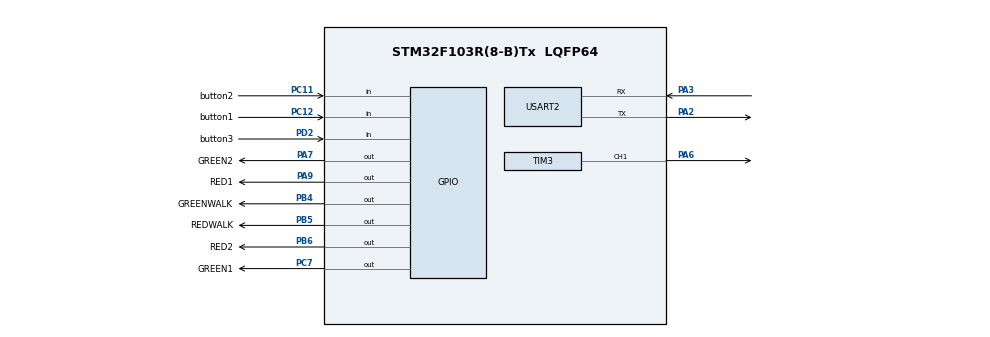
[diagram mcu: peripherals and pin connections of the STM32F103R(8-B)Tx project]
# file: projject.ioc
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Mcu.Family=STM32F1
Mcu.Name=STM32F103R(8-B)Tx
Mcu.Package=LQFP64
NVIC.PriorityGroup=NVIC_PRIORITYGROUP_4
NVIC.TIM2_IRQn=true\:0\:0\:false\:false\:true\:true\:true\:true
NVIC.USART2_IRQn=true\:0\:0\:false\:false\:true\:true\:true\:true
PA13.Mode=Serial_Wire
PA13.Signal=SYS_JTMS-SWDIO
PA14.Mode=Serial_Wire
PA14.Signal=SYS_JTCK-SWCLK
PA2.Mode=Asynchronous
PA2.Signal=USART2_TX
PA3.Mode=Asynchronous
PA3.Signal=USART2_RX
PA6.Signal=S_TIM3_CH1
PA7.GPIO_Label=GREEN2
PA7.GPIO_Speed=GPIO_SPEED_FREQ_HIGH
PA7.PinState=GPIO_PIN_SET
PA7.Signal=GPIO_Output
PA9.GPIO_Label=RED1
PA9.GPIO_Speed=GPIO_SPEED_FREQ_HIGH
PA9.PinState=GPIO_PIN_SET
PA9.Signal=GPIO_Output
PB4.GPIO_Label=GREENWALK
PB4.GPIO_Speed=GPIO_SPEED_FREQ_HIGH
PB4.PinState=GPIO_PIN_SET
PB4.Signal=GPIO_Output
PB5.GPIO_Label=REDWALK
PB5.GPIO_Speed=GPIO_SPEED_FREQ_HIGH
PB5.PinState=GPIO_PIN_SET
PB5.Signal=GPIO_Output
PB6.GPIO_Label=RED2
PB6.GPIO_Speed=GPIO_SPEED_FREQ_HIGH
PB6.PinState=GPIO_PIN_SET
PB6.Signal=GPIO_Output
PC11.GPIO_Label=button2
PC11.GPIO_PuPd=GPIO_PULLUP
PC11.Signal=GPIO_Input
PC12.GPIO_Label=button1
PC12.GPIO_PuPd=GPIO_PULLUP
PC12.Signal=GPIO_Input
PC7.GPIO_Label=GREEN1
PC7.GPIO_Speed=GPIO_SPEED_FREQ_HIGH
PC7.PinState=GPIO_PIN_SET
PC7.Signal=GPIO_Output
PD2.GPIO_Label=button3
PD2.GPIO_PuPd=GPIO_PULLUP
PD2.Signal=GPIO_Input
ProjectManager.HeapSize=0x200
ProjectManager.StackSize=0x400
ProjectManager.TargetToolchain=STM32CubeIDE
RCC.APB1Freq_Value=8000000
RCC.APB2Freq_Value=8000000
SH.S_TIM3_CH1.0=TIM3_CH1,PWM Generation1 CH1
TIM2.Period=9
TIM2.Prescaler=7999
TIM3.Channel-PWM\ Generation1\ CH1=TIM_CHANNEL_1
TIM3.Period=9999
TIM3.Prescaler=399
TIM3.Pulse-PWM\ Generation1\ CH1=5000
USART2.VirtualMode=VM_ASYNC
VP_TIM2_VS_ClockSourceINT.Mode=Internal
VP_TIM3_VS_ClockSourceINT.Mode=Internal
board=custom

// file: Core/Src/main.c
/* USER CODE BEGIN Header */
/**
 ******************************************************************************
 * @file           : main.c
 * @brief          : Main program body
 ******************************************************************************
 * @attention
 *
 * <h2><center>&copy; Copyright (c) 2023 STMicroelectronics.
 * All rights reserved.</center></h2>
 *
 * This software component is licensed by ST under BSD 3-Clause license,
 * the "License"; You may not use this file except in compliance with the
 * License. You may obtain a copy of the License at:
 *                        opensource.org/licenses/BSD-3-Clause
 *
 ******************************************************************************
 */
/* USER CODE END Header */
#include "main.h"

/* USER CODE BEGIN Includes */
#include <string.h>
#include "button.h"
#include "normalMode.h"
#include "deviceDriverSingleLed.h"
#include "deviceDriver7Segment.h"
#include "manualMode.h"
#include "tuningMode.h"
#include "ledWalk.h"
#include "uart.h"
#include "scho1.h"
#include "pwm.h"
/* USER CODE END Includes */

TIM_HandleTypeDef htim2;
//TIM_HandleTypeDef htim3;
//
//UART_HandleTypeDef huart2;

void SystemClock_Config(void);
static void MX_GPIO_Init(void);
static void MX_TIM2_Init(void);
//static void MX_TIM3_Init(void);
//static void MX_USART2_UART_Init(void);

int main(void)
{

  /* MCU Configuration--------------------------------------------------------*/

  /* Reset of all peripherals, Initializes the Flash interface and the Systick. */
  HAL_Init();

  /* Configure the system clock */
  SystemClock_Config();

  /* Initialize all configured peripherals */
  MX_GPIO_Init();
  MX_TIM2_Init();
  MX_TIM3_Init();
  MX_USART2_UART_Init();
  /* USER CODE BEGIN 2 */
  HAL_TIM_Base_Start_IT(&htim2);
  SCH_Init();
  HAL_TIM_PWM_Start(&htim3, TIM_CHANNEL_1);
  /* USER CODE END 2 */

  /* Infinite loop */
  /* USER CODE BEGIN WHILE */
  SCH_Add_Task(task1, 1000, 1000, 1);
  SCH_Add_Task(task2, 500, 500, 2);
  SCH_Add_Task(task3, 10, 10, 3);
  SCH_Add_Task(task4, 200, 200, 4);
//  char *tx_data = "Hello, UART!\r\n";
	while (1)
	{
		SCH_Dispatch_Tasks();
//		HAL_UART_Transmit(&huart2, (uint8_t*)tx_data, strlen(tx_data), 1000);
//		HAL_Delay(1000);
    /* USER CODE END WHILE */

	}
}

void SystemClock_Config(void)
{
  RCC_OscInitTypeDef RCC_OscInitStruct = {0};
  RCC_ClkInitTypeDef RCC_ClkInitStruct = {0};

  /** Initializes the RCC Oscillators according to the specified parameters
  * in the RCC_OscInitTypeDef structure.
  */
  RCC_OscInitStruct.OscillatorType = RCC_OSCILLATORTYPE_HSI;
  RCC_OscInitStruct.HSIState = RCC_HSI_ON;
  RCC_OscInitStruct.HSICalibrationValue = RCC_HSICALIBRATION_DEFAULT;
  RCC_OscInitStruct.PLL.PLLState = RCC_PLL_NONE;
  if (HAL_RCC_OscConfig(&RCC_OscInitStruct) != HAL_OK)
  {
    Error_Handler();
  }

  /** Initializes the CPU, AHB and APB buses clocks
  */
  RCC_ClkInitStruct.ClockType = RCC_CLOCKTYPE_HCLK|RCC_CLOCKTYPE_SYSCLK
                              |RCC_CLOCKTYPE_PCLK1|RCC_CLOCKTYPE_PCLK2;
  RCC_ClkInitStruct.SYSCLKSource = RCC_SYSCLKSOURCE_HSI;
  RCC_ClkInitStruct.AHBCLKDivider = RCC_SYSCLK_DIV1;
  RCC_ClkInitStruct.APB1CLKDivider = RCC_HCLK_DIV1;
  RCC_ClkInitStruct.APB2CLKDivider = RCC_HCLK_DIV1;

  if (HAL_RCC_ClockConfig(&RCC_ClkInitStruct, FLASH_LATENCY_0) != HAL_OK)
  {
    Error_Handler();
  }
}

static void MX_TIM2_Init(void)
{

  TIM_ClockConfigTypeDef sClockSourceConfig = {0};
  TIM_MasterConfigTypeDef sMasterConfig = {0};

  htim2.Instance = TIM2;
  htim2.Init.Prescaler = 7999;
  htim2.Init.CounterMode = TIM_COUNTERMODE_UP;
  htim2.Init.Period = 9;
  htim2.Init.ClockDivision = TIM_CLOCKDIVISION_DIV1;
  htim2.Init.AutoReloadPreload = TIM_AUTORELOAD_PRELOAD_DISABLE;
  if (HAL_TIM_Base_Init(&htim2) != HAL_OK)
  {
    Error_Handler();
  }
  sClockSourceConfig.ClockSource = TIM_CLOCKSOURCE_INTERNAL;
  if (HAL_TIM_ConfigClockSource(&htim2, &sClockSourceConfig) != HAL_OK)
  {
    Error_Handler();
  }
  sMasterConfig.MasterOutputTrigger = TIM_TRGO_RESET;
  sMasterConfig.MasterSlaveMode = TIM_MASTERSLAVEMODE_DISABLE;
  if (HAL_TIMEx_MasterConfigSynchronization(&htim2, &sMasterConfig) != HAL_OK)
  {
    Error_Handler();
  }

}

static void MX_GPIO_Init(void)
{
  GPIO_InitTypeDef GPIO_InitStruct = {0};

  /* GPIO Ports Clock Enable */
  __HAL_RCC_GPIOA_CLK_ENABLE();
  __HAL_RCC_GPIOC_CLK_ENABLE();
  __HAL_RCC_GPIOD_CLK_ENABLE();
  __HAL_RCC_GPIOB_CLK_ENABLE();

  /*Configure GPIO pin Output Level */
  HAL_GPIO_WritePin(GPIOA, GREEN2_Pin|RED1_Pin, GPIO_PIN_SET);

  /*Configure GPIO pin Output Level */
  HAL_GPIO_WritePin(GREEN1_GPIO_Port, GREEN1_Pin, GPIO_PIN_SET);

  /*Configure GPIO pin Output Level */
  HAL_GPIO_WritePin(GPIOB, GREENWALK_Pin|REDWALK_Pin|RED2_Pin, GPIO_PIN_SET);

  /*Configure GPIO pins : GREEN2_Pin RED1_Pin */
  GPIO_InitStruct.Pin = GREEN2_Pin|RED1_Pin;
  GPIO_InitStruct.Mode = GPIO_MODE_OUTPUT_PP;
  GPIO_InitStruct.Pull = GPIO_NOPULL;
  GPIO_InitStruct.Speed = GPIO_SPEED_FREQ_HIGH;
  HAL_GPIO_Init(GPIOA, &GPIO_InitStruct);

  /*Configure GPIO pin : GREEN1_Pin */
  GPIO_InitStruct.Pin = GREEN1_Pin;
  GPIO_InitStruct.Mode = GPIO_MODE_OUTPUT_PP;
  GPIO_InitStruct.Pull = GPIO_NOPULL;
  GPIO_InitStruct.Speed = GPIO_SPEED_FREQ_HIGH;
  HAL_GPIO_Init(GREEN1_GPIO_Port, &GPIO_InitStruct);

  /*Configure GPIO pins : button2_Pin button1_Pin */
  GPIO_InitStruct.Pin = button2_Pin|button1_Pin;
  GPIO_InitStruct.Mode = GPIO_MODE_INPUT;
  GPIO_InitStruct.Pull = GPIO_PULLUP;
  HAL_GPIO_Init(GPIOC, &GPIO_InitStruct);

  /*Configure GPIO pin : button3_Pin */
  GPIO_InitStruct.Pin = button3_Pin;
  GPIO_InitStruct.Mode = GPIO_MODE_INPUT;
  GPIO_InitStruct.Pull = GPIO_PULLUP;
  HAL_GPIO_Init(button3_GPIO_Port, &GPIO_InitStruct);

  /*Configure GPIO pins : GREENWALK_Pin REDWALK_Pin RED2_Pin */
  GPIO_InitStruct.Pin = GREENWALK_Pin|REDWALK_Pin|RED2_Pin;
  GPIO_InitStruct.Mode = GPIO_MODE_OUTPUT_PP;
  GPIO_InitStruct.Pull = GPIO_NOPULL;
  GPIO_InitStruct.Speed = GPIO_SPEED_FREQ_HIGH;
  HAL_GPIO_Init(GPIOB, &GPIO_InitStruct);

}

/* USER CODE BEGIN 4 */
void HAL_TIM_PeriodElapsedCallback(TIM_HandleTypeDef *htim)
{
	SCH_Update();
}

/* USER CODE END 4 */

void Error_Handler(void)
{
	__disable_irq();
	while (1)
	{
	}
}
